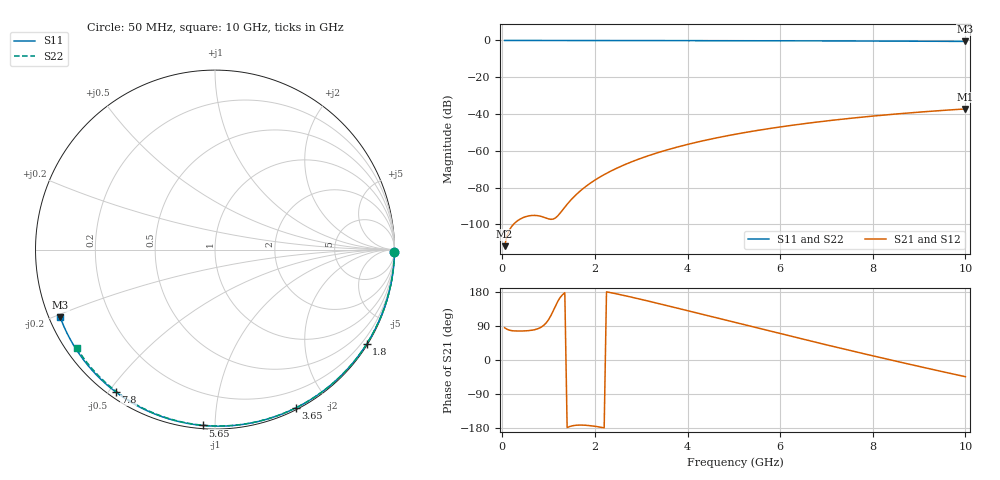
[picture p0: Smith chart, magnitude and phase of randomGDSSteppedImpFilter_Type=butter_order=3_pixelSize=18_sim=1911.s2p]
! freq	dB(S11)	phase(S11)	dB(S12)	phase(S12)
!  dB(S21)	phase(S21)	dB(S22)	phase(S22)
!S-par simulation data
#  GHz  S  DB  R 50
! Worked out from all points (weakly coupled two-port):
!   200 points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, 50 MHz to 10 GHz, reference 50 ohm
!   highest |S21| = -37.23 dB at 10 GHz (marker M1); lowest = -111.8 dB at 50 MHz (marker M2)
!   lowest |S11| = -0.5 dB at 10 GHz (marker M3), VSWR 32.99, Z = 1.58 - j10.4 ohm
!   |S11| at or under -10 dB: nowhere
!   |S22| runs from -0.5 to 0.0 dB; largest |S21 - S12| = 0
!   S11 on the Smith chart (normalised r, x): 50 MHz: open; 1.8 GHz: 0.03, -3.50; 3.65 GHz: 0.02, -1.63; 5.65 GHz: 0.02, -0.93; 7.8 GHz: 0.02, -0.52; 10 GHz: 0.03, -0.21
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0.05  -0.00 -0.9  -111.84 85.1  -111.84 85.1  -0.00 -0.8
0.45  -0.01 -8.1  -96.31 76.6  -96.31 76.6  -0.01 -7.5
0.85  -0.02 -15.2  -95.73 87.5  -95.73 87.5  -0.02 -14.2
1.3  -0.03 -23.2  -92.22 172.3  -92.22 172.3  -0.03 -21.6
1.75  -0.04 -31.0  -80.42 -171.8  -80.42 -171.8  -0.04 -28.9
1.8  -0.04 -31.9  -79.43 -172.2  -79.43 -172.2  -0.04 -29.7
1.95  -0.04 -34.5  -76.74 -174.1  -76.74 -174.1  -0.04 -32.1
2.1  -0.05 -37.1  -74.37 -176.9  -74.37 -176.9  -0.04 -34.5
2.3  -0.05 -40.5  -71.58 178.7  -71.58 178.7  -0.05 -37.7
2.5  -0.06 -43.9  -69.12 173.7  -69.12 173.7  -0.05 -40.9
2.9  -0.07 -50.6  -64.93 162.8  -64.93 162.8  -0.06 -47.2
3.4  -0.08 -58.9  -60.67 148.2  -60.67 148.2  -0.07 -54.9
3.65  -0.08 -62.9  -58.83 140.7  -58.83 140.7  -0.08 -58.7
4.3  -0.10 -73.3  -54.73 121.0  -54.73 121.0  -0.10 -68.4
5.05  -0.13 -84.9  -50.90 98.2  -50.90 98.2  -0.12 -79.3
5.65  -0.16 -93.9  -48.35 80.1  -48.35 80.1  -0.15 -87.7
6.15  -0.18 -101.3  -46.48 65.1  -46.48 65.1  -0.17 -94.6
6.7  -0.21 -109.3  -44.66 48.8  -44.66 48.8  -0.20 -102.0
7.8  -0.29 -124.9  -41.60 16.8  -41.60 16.8  -0.27 -116.4
8.35  -0.34 -132.7  -40.32 1.1  -40.32 1.1  -0.32 -123.5
9.2  -0.43 -144.8  -38.59 -22.5  -38.59 -22.5  -0.40 -134.3
10  -0.53 -156.4  -37.23 -44.1  -37.23 -44.1  -0.49 -144.5
